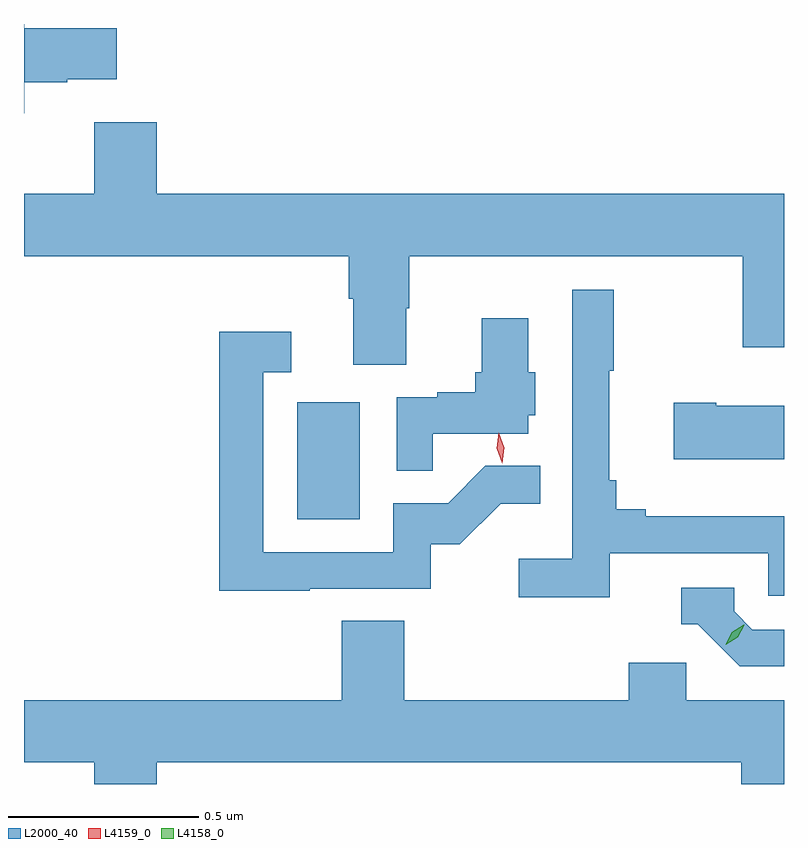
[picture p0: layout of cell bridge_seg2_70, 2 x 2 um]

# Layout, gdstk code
import gdstk
lib = gdstk.Library(unit=1e-6, precision=1e-09)
def R(c, l, rs):  # rectangles x0, y0, x1, y1
    for r in rs: c.add(gdstk.rectangle(r[:2], r[2:], *l))
def P(c, l, *ps):  # polygons
    for p in ps: c.add(gdstk.Polygon(p, *l))
L2000_40 = (2000, 40)
L4158_0 = (4158, 0)
L4159_0 = (4159, 0)

bridge_seg2_70 = lib.new_cell('bridge_seg2_70')
R(bridge_seg2_70, L2000_40, [(896.81,658.932,896.974,659.239)])
P(bridge_seg2_70, L2000_40, [(896.092,660.082),(896.205,660.082),(896.205,660.089),(896.335,660.089),(896.335,660.224),(896.092,660.224),(896.092,660.235),(896.091,660.235),(896.091,660),(896.092,660)],
  [(897.097,659.487),(897.105,659.487),(897.105,659.624),(897.982,659.624),(897.982,659.385),(898.091,659.385),(898.091,659.788),(896.44,659.788),(896.44,659.977),(896.276,659.977),(896.276,659.788),(896.091,659.788),(896.091,659.624),(896.945,659.624),(896.945,659.512),(896.957,659.512),(896.957,659.338),(897.097,659.338)],
  [(897.632,658.842),(898.05,658.842),(898.05,658.731),(898.091,658.731),(898.091,658.939),(897.727,658.939),(897.727,658.958),(897.65,658.958),(897.65,659.035),(897.631,659.035),(897.631,659.323),(897.643,659.323),(897.643,659.536),(897.534,659.536),(897.534,658.828),(897.393,658.828),(897.393,658.726),(897.632,658.726)],
  [(897.167,659.157),(897.418,659.157),(897.418,659.205),(897.436,659.205),(897.436,659.319),(897.418,659.319),(897.418,659.461),(897.296,659.461),(897.296,659.319),(897.278,659.319),(897.278,659.266),(897.179,659.266),(897.179,659.253),(897.072,659.253),(897.072,659.059),(897.167,659.059)],
  [(896.843,658.749),(897.162,658.749),(897.162,658.866),(897.238,658.866),(897.345,658.973),(897.449,658.973),(897.449,659.072),(897.305,659.072),(897.207,658.974),(897.063,658.974),(897.063,658.845),(896.721,658.845),(896.721,659.319),(896.794,659.319),(896.794,659.425),(896.605,659.425),(896.605,658.744),(896.843,658.744)],
  [(898.091,659.23),(897.913,659.23),(897.913,659.238),(897.801,659.238),(897.801,659.09),(898.091,659.09)],
  [(898.091,658.641),(898.008,658.641),(897.96,658.689),(897.96,658.752),(897.821,658.752),(897.821,658.656),(897.864,658.656),(897.975,658.545),(898.091,658.545)],
  [(896.44,658.292),(897.978,658.292),(897.978,658.235),(898.091,658.235),(898.091,658.456),(897.834,658.456),(897.834,658.554),(897.683,658.554),(897.683,658.456),(897.092,658.456),(897.092,658.664),(896.927,658.664),(896.927,658.456),(896.091,658.456),(896.091,658.292),(896.276,658.292),(896.276,658.235),(896.44,658.235)])
P(bridge_seg2_70, L4158_0, [(897.938,658.602),(897.938,658.602),(897.954,658.634),(897.985,658.654),(897.986,658.654),(897.986,658.653),(897.969,658.621),(897.938,658.602)])
P(bridge_seg2_70, L4159_0, [(897.349,659.079),(897.335,659.118),(897.34,659.159),(897.34,659.159),(897.34,659.159),(897.355,659.12),(897.35,659.079),(897.35,659.079)])

lib.write_gds('bridge_seg2_70.gds')
